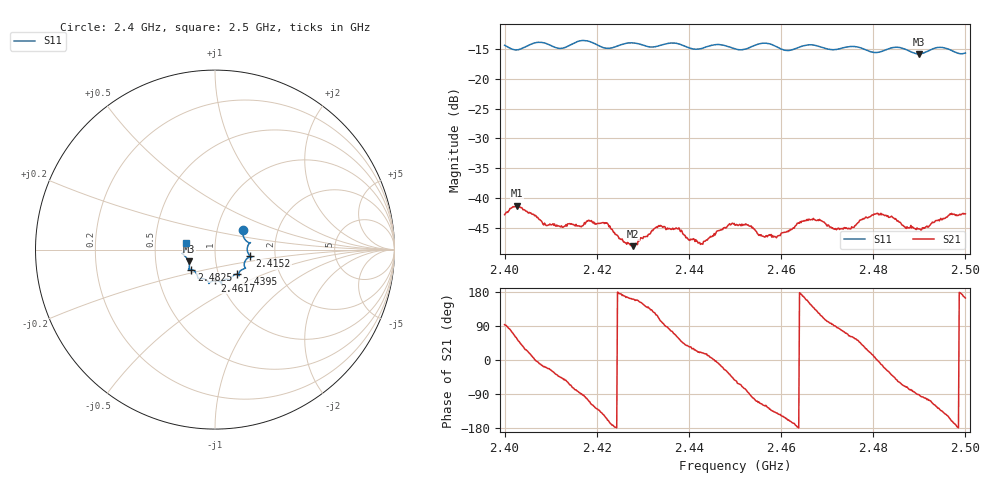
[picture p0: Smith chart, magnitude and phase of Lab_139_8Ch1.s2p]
# Hz S RI R 50
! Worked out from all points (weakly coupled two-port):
!   601 points, 2.4 GHz to 2.5 GHz, reference 50 ohm
!   highest |S21| = -41.28 dB at 2.4027 GHz (marker M1); lowest = -48.0 dB at 2.4278 GHz (marker M2)
!   lowest |S11| = -15.9 dB at 2.4898 GHz (marker M3), VSWR 1.38, Z = 36.9 - j4.91 ohm
!   |S11| at or under -10 dB: start of sweep to end of sweep
!   S12 and S22 are empty: the file has one direction only
!   S11 on the Smith chart (normalised r, x): 2.4 GHz: 1.33, +0.30; 2.4152 GHz: 1.48, -0.11; 2.4395 GHz: 1.22, -0.35; 2.4617 GHz: 0.94, -0.33; 2.4825 GHz: 0.75, -0.17; 2.5 GHz: 0.72, +0.05
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2.4e9  0.1557 0.1095  -0.000417 0.00726  0 0  0 0
2.402667e9  0.1608 0.0663  0.00481 0.00717  0 0  0 0
2.408833e9  0.1945 0.0374  0.00568 -0.002  0 0  0 0
2.412167e9  0.1791 0.000971  0.00399 -0.00414  0 0  0 0
2.415167e9  0.1959 -0.0366  0.0013 -0.00577  0 0  0 0
2.416667e9  0.2038 -0.0421  0.000125 -0.00576  0 0  0 0
2.421833e9  0.1697 -0.0601  -0.00542 -0.00309  0 0  0 0
2.427833e9  0.1699 -0.1038  -0.00374 0.00132  0 0  0 0
2.433333e9  0.1328 -0.1326  -0.00224 0.00539  0 0  0 0
2.4375e9  0.1342 -0.1437  0.00274 0.00481  0 0  0 0
2.4395e9  0.1227 -0.1379  0.00369 0.00291  0 0  0 0
2.443e9  0.0912 -0.1553  0.0039 0.0013  0 0  0 0
2.45e9  0.0671 -0.1645  0.00353 -0.00477  0 0  0 0
2.4565e9  0.0387 -0.1944  -0.00244 -0.00404  0 0  0 0
2.461667e9  0.00068 -0.1721  -0.00498 -0.00199  0 0  0 0
2.466667e9  -0.034 -0.1887  -0.00528 0.00401  0 0  0 0
2.474667e9  -0.0905 -0.1616  0.00247 0.00503  0 0  0 0
2.4825e9  -0.1325 -0.1109  0.00664 -0.00262  0 0  0 0
2.483333e9  -0.1396 -0.1101  0.00597 -0.00348  0 0  0 0
2.489833e9  -0.1473 -0.0648  -9.94e-05 -0.00554  0 0  0 0
2.4945e9  -0.1813 -0.0225  -0.00438 -0.00496  0 0  0 0
2.5e9  -0.1599 0.0352  -0.0071 0.00209  0 0  0 0
